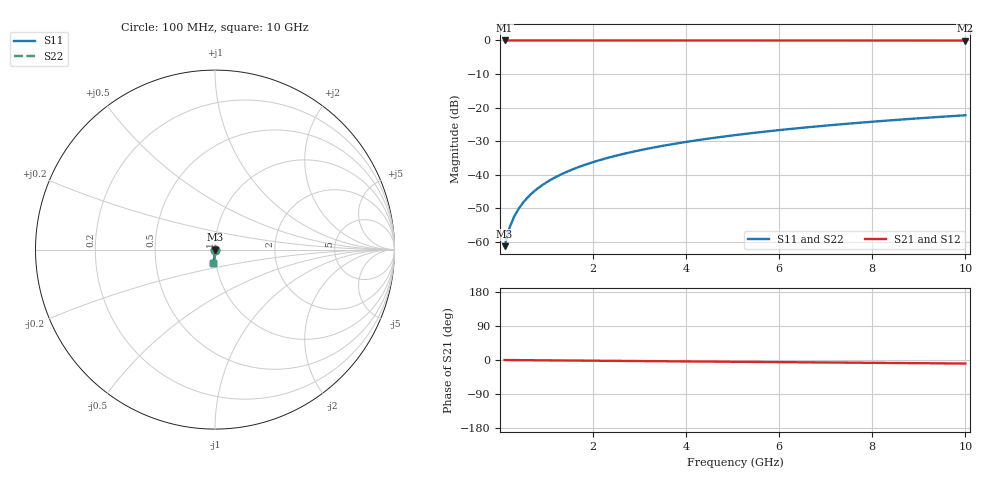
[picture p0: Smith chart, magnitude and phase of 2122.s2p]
# Hz S RI R 50.00
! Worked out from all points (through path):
!   100 points, 100 MHz to 10 GHz, reference 50 ohm
!   highest |S21| = 0.00 dB at 100 MHz (marker M1); lowest = 0.0 dB at 10 GHz (marker M2)
!   group delay of S21, straight-line fit = 2.59 ps
!   lowest |S11| = -61.2 dB at 100 MHz (marker M3), VSWR 1.00, Z = 50 - j0.0772 ohm
!   |S11| at or under -10 dB: start of sweep to end of sweep
!   |S22| runs from -61.2 to -22.3 dB; largest |S21 - S12| = 0
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1e8  0.000393 -0.000772  0.9996 -0.00162  0.9996 -0.00162  0.000393 -0.000772
2e8  0.000391 -0.00154  0.9996 -0.00325  0.9996 -0.00325  0.000391 -0.00154
3e8  0.000386 -0.00231  0.9996 -0.00487  0.9996 -0.00487  0.000386 -0.00231
4e8  0.000377 -0.00309  0.9996 -0.00649  0.9996 -0.00649  0.000377 -0.00309
5e8  0.000366 -0.00386  0.9995 -0.00811  0.9995 -0.00811  0.000366 -0.00386
6e8  0.000353 -0.00463  0.9995 -0.00974  0.9995 -0.00974  0.000353 -0.00463
7e8  0.000336 -0.0054  0.9995 -0.0114  0.9995 -0.0114  0.000336 -0.0054
8e8  0.000318 -0.00617  0.9995 -0.013  0.9995 -0.013  0.000318 -0.00617
9e8  0.000296 -0.00694  0.9994 -0.0146  0.9994 -0.0146  0.000296 -0.00694
1.1e9  0.000245 -0.00849  0.9994 -0.0178  0.9994 -0.0178  0.000245 -0.00849
1.4e9  0.000151 -0.0108  0.9993 -0.0227  0.9993 -0.0227  0.000151 -0.0108
1.8e9  -1.15e-05 -0.0139  0.999 -0.0292  0.999 -0.0292  -1.15e-05 -0.0139
2.1e9  -0.00016 -0.0162  0.9988 -0.0341  0.9988 -0.0341  -0.00016 -0.0162
2.5e9  -0.000392 -0.0193  0.9985 -0.0406  0.9985 -0.0406  -0.000392 -0.0193
2.9e9  -0.000665 -0.0224  0.9982 -0.047  0.9982 -0.047  -0.000665 -0.0224
3.4e9  -0.00106 -0.0262  0.9977 -0.0551  0.9977 -0.0551  -0.00106 -0.0262
4.2e9  -0.00183 -0.0323  0.9967 -0.0681  0.9967 -0.0681  -0.00183 -0.0323
5.1e9  -0.00288 -0.0392  0.9953 -0.0827  0.9953 -0.0827  -0.00288 -0.0392
5.9e9  -0.00399 -0.0453  0.9939 -0.0956  0.9939 -0.0956  -0.00399 -0.0453
6.7e9  -0.00525 -0.0514  0.9922 -0.1085  0.9922 -0.1085  -0.00525 -0.0514
8.4e9  -0.00846 -0.0642  0.9881 -0.1358  0.9881 -0.1358  -0.00846 -0.0642
1e10  -0.0121 -0.076  0.9833 -0.1614  0.9833 -0.1614  -0.0121 -0.076
